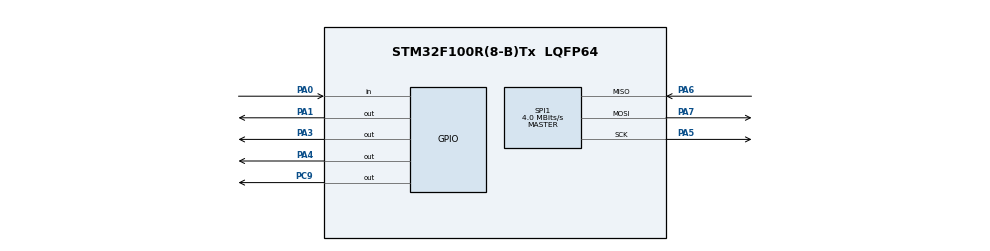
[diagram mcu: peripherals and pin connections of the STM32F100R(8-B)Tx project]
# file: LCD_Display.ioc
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Mcu.Family=STM32F1
Mcu.Name=STM32F100R(8-B)Tx
Mcu.Package=LQFP64
NVIC.PriorityGroup=NVIC_PRIORITYGROUP_4
PA0-WKUP.Signal=GPIO_Input
PA1.Signal=GPIO_Output
PA13.Mode=Serial_Wire
PA13.Signal=SYS_JTMS-SWDIO
PA14.Mode=Serial_Wire
PA14.Signal=SYS_JTCK-SWCLK
PA3.Signal=GPIO_Output
PA4.Signal=GPIO_Output
PA5.Mode=Full_Duplex_Master
PA5.Signal=SPI1_SCK
PA6.Mode=Full_Duplex_Master
PA6.Signal=SPI1_MISO
PA7.Mode=Full_Duplex_Master
PA7.Signal=SPI1_MOSI
PC9.Signal=GPIO_Output
ProjectManager.HeapSize=0x200
ProjectManager.StackSize=0x400
ProjectManager.TargetToolchain=Makefile
RCC.APB1Freq_Value=8000000
RCC.APB2Freq_Value=8000000
SPI1.CalculateBaudRate=4.0 MBits/s
SPI1.Direction=SPI_DIRECTION_2LINES
SPI1.Mode=SPI_MODE_MASTER
SPI1.VirtualType=VM_MASTER
board=custom

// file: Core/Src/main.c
/* USER CODE BEGIN Header */
/**
 ******************************************************************************
 * @file           : main.c
 * @brief          : Main program body
 ******************************************************************************
 * @attention
 *
 * Copyright (c) 2025 STMicroelectronics.
 * All rights reserved.
 *
 * This software is licensed under terms that can be found in the LICENSE file
 * in the root directory of this software component.
 * If no LICENSE file comes with this software, it is provided AS-IS.
 *
 ******************************************************************************
 */
/* USER CODE END Header */
#include "main.h"

/* USER CODE BEGIN PD */
#define DCX_low()                                                              \
  HAL_GPIO_WritePin(GPIOA, GPIO_PIN_1, GPIO_PIN_RESET) // command
#define DCX_high()                                                             \
  HAL_GPIO_WritePin(GPIOA, GPIO_PIN_1, GPIO_PIN_SET) // data/parameter

#define SLEEP_OUT 0x11
#define DISPLAY_ON 0x29

// select at low level
#define CSX_low() HAL_GPIO_WritePin(GPIOA, GPIO_PIN_4, GPIO_PIN_RESET)
#define CSX_high() HAL_GPIO_WritePin(GPIOA, GPIO_PIN_4, GPIO_PIN_SET)

// reset at low level
#define RESX_low() HAL_GPIO_WritePin(GPIOA, GPIO_PIN_3, GPIO_PIN_RESET)
#define RESX_high() HAL_GPIO_WritePin(GPIOA, GPIO_PIN_3, GPIO_PIN_SET)

// pixel RGB565
#define GREEN 0x07E0 // 0b0000011111100000
#define RED 0xF100   // 0b1111100000000000
#define BLUE 0x001F  // 0b0000000000011111

#define COLMOD_CMD 0x3A
#define COLMOD_16 0x55 // 16bits pro pixel

#define RAMWR_CMD 0x2C // instruction before pixel data is sent

#define MADCTL_CMD 0x36
#define MADCTL_PARAM 0x00

#define RASET_CMD 0x2B
#define CASET_CMD 0x2A
#define RASET_PARAM_START 0x0000 // Startzeile
#define RASET_PARAM_END 0x0083   // Endzeile = 131
#define CASET_PARAM_START 0x0000 // Startspalte
#define CASET_PARAM_END 0x00A1   // Endspalte = 161
/* USER CODE END PD */

SPI_HandleTypeDef hspi1;

void SystemClock_Config(void);
static void MX_GPIO_Init(void);
static void MX_SPI1_Init(void);

/* USER CODE BEGIN 0 */

void send_command(uint8_t command) {
  volatile HAL_StatusTypeDef status;
  DCX_low();
  status = HAL_SPI_Transmit(&hspi1, &command, 1, HAL_MAX_DELAY);
  DCX_high(); // im asnchluss kommen parmater
}

typedef union {
  uint16_t u16;
  uint8_t u8[2];
} RaCaParam;

void send_1byte_param(uint8_t param) {
  volatile HAL_StatusTypeDef status;
  status = HAL_SPI_Transmit(&hspi1, &param, 1, HAL_MAX_DELAY);
}
void send_RaCa_set_param(RaCaParam start, RaCaParam end) {
  // Achtung ST7735S arbeitet in big endian während mcu in little endian
  // arbeitet, deswegen der tusch mittels union!
  volatile HAL_StatusTypeDef status;
  uint8_t parameter[2];
  parameter[0] = start.u8[1];
  parameter[1] = start.u8[0];
  status = HAL_SPI_Transmit(&hspi1, parameter, 2, HAL_MAX_DELAY);
  parameter[0] = end.u8[1];
  parameter[1] = end.u8[0];
  status = HAL_SPI_Transmit(&hspi1, parameter, 2, HAL_MAX_DELAY);
}

uint32_t drawPixle(uint16_t color) {
  uint32_t i;
  uint32_t pixel = 132 * 162;
  // Pixeldata senden (2 Bytes, Big Endian!)
  uint8_t data[] = {color >> 8, color & 0xFF};
  for (i = 0; i < pixel; i++) {
    HAL_SPI_Transmit(&hspi1, data, 2, HAL_MAX_DELAY);
  }
  return i;
}
/* USER CODE END 0 */

int main(void) {

  /* MCU Configuration--------------------------------------------------------*/

  /* Reset of all peripherals, Initializes the Flash interface and the Systick.
   */
  HAL_Init();

  /* Configure the system clock */
  SystemClock_Config();

  /* Initialize all configured peripherals */
  MX_GPIO_Init();
  MX_SPI1_Init();

  /* Infinite loop */
  /* USER CODE BEGIN WHILE */
  CSX_low();
  send_command(SLEEP_OUT); // 0x11
  HAL_Delay(200);          // warten bis Controller aufwacht
  // HAL_GPIO_ReadPin(GPIOA, GPIO_PIN_4) == GPIO_PIN_RESET
  //     ? HAL_GPIO_WritePin(GPIOC, GPIO_PIN_9, GPIO_PIN_SET)
  //     : HAL_GPIO_WritePin(GPIOC, GPIO_PIN_9, GPIO_PIN_RESET);

  send_command(MADCTL_CMD);
  send_1byte_param(MADCTL_PARAM);

  send_command(RASET_CMD);
  volatile RaCaParam ra_start;
  ra_start.u16 = RASET_PARAM_START;
  volatile RaCaParam ra_end;
  ra_end.u16 = RASET_PARAM_END;
  send_RaCa_set_param(ra_start, ra_end);

  send_command(CASET_CMD);
  volatile RaCaParam ca_start;
  ca_start.u16 = CASET_PARAM_START;
  volatile RaCaParam ca_end;
  ca_end.u16 = CASET_PARAM_END;
  send_RaCa_set_param(ca_start, ca_end);

  send_command(COLMOD_CMD);
  send_1byte_param(COLMOD_16);

  send_command(DISPLAY_ON); // 0x29
  HAL_Delay(20);            // Warten bis display iengeschlatet ist
  CSX_high();
  // Hardware-Reset zu Beginn
  // HAL_GPIO_WritePin(GPIOA, GPIO_PIN_3, GPIO_PIN_RESET);
  // HAL_Delay(50);
  // HAL_GPIO_WritePin(GPIOA, GPIO_PIN_3, GPIO_PIN_SET);
  // HAL_Delay(1000);
  // uint16_t colors[3] = {GREEN, BLUE, RED};
  // uint8_t index = 0;
  // GPIO_PinState buttonstatus;
  while (1) {
    // buttonstatus = HAL_GPIO_ReadPin(GPIOA, GPIO_PIN_0);
    // HAL_Delay(50);
    // if (buttonstatus == GPIO_PIN_SET) {
    //   buttonstatus = HAL_GPIO_ReadPin(GPIOA, GPIO_PIN_0);
    //   if (buttonstatus == GPIO_PIN_SET) {

    // CSX_low();
    // send_command(SLEEP_OUT); // 0x11
    // HAL_Delay(120);          // warten bis Controller aufwacht
    // // HAL_GPIO_ReadPin(GPIOA, GPIO_PIN_4) == GPIO_PIN_RESET
    // //     ? HAL_GPIO_WritePin(GPIOC, GPIO_PIN_9, GPIO_PIN_SET)
    // //     : HAL_GPIO_WritePin(GPIOC, GPIO_PIN_9, GPIO_PIN_RESET);

    // send_command(MADCTL_CMD);
    // send_1byte_param(MADCTL_PARAM);

    // send_command(RASET_CMD);
    // volatile RaCaParam ra_start;
    // ra_start.u16 = RASET_PARAM_START;
    // volatile RaCaParam ra_end;
    // ra_end.u16 = RASET_PARAM_END;
    // send_RaCa_set_param(ra_start, ra_end);

    // send_command(CASET_CMD);
    // volatile RaCaParam ca_start;
    // ca_start.u16 = CASET_PARAM_START;
    // volatile RaCaParam ca_end;
    // ca_end.u16 = CASET_PARAM_END;
    // send_RaCa_set_param(ca_start, ca_end);

    // send_command(COLMOD_CMD);
    // send_1byte_param(COLMOD_16);

    // send_command(DISPLAY_ON); // 0x29
    // HAL_Delay(20);            // Warten bis display iengeschlatet ist
    CSX_low();
    send_command(RAMWR_CMD);
    // drawPixle(colors[index]);
    drawPixle(GREEN);
    CSX_high();
    HAL_Delay(5000);

    // while (HAL_GPIO_ReadPin(GPIOA, GPIO_PIN_0) == GPIO_PIN_RESET) {
    //   HAL_Delay(50);
    // }

    // index++;
    // if (index == 3) {
    //   index = 0;
    // }
  }

  /* USER CODE END WHILE */

}
// }
// }

void SystemClock_Config(void) {
  RCC_OscInitTypeDef RCC_OscInitStruct = {0};
  RCC_ClkInitTypeDef RCC_ClkInitStruct = {0};

  /** Initializes the RCC Oscillators according to the specified parameters
   * in the RCC_OscInitTypeDef structure.
   */
  RCC_OscInitStruct.OscillatorType = RCC_OSCILLATORTYPE_HSI;
  RCC_OscInitStruct.HSIState = RCC_HSI_ON;
  RCC_OscInitStruct.HSICalibrationValue = RCC_HSICALIBRATION_DEFAULT;
  RCC_OscInitStruct.PLL.PLLState = RCC_PLL_NONE;
  if (HAL_RCC_OscConfig(&RCC_OscInitStruct) != HAL_OK) {
    Error_Handler();
  }

  /** Initializes the CPU, AHB and APB buses clocks
   */
  RCC_ClkInitStruct.ClockType = RCC_CLOCKTYPE_HCLK | RCC_CLOCKTYPE_SYSCLK |
                                RCC_CLOCKTYPE_PCLK1 | RCC_CLOCKTYPE_PCLK2;
  RCC_ClkInitStruct.SYSCLKSource = RCC_SYSCLKSOURCE_HSI;
  RCC_ClkInitStruct.AHBCLKDivider = RCC_SYSCLK_DIV1;
  RCC_ClkInitStruct.APB1CLKDivider = RCC_HCLK_DIV1;
  RCC_ClkInitStruct.APB2CLKDivider = RCC_HCLK_DIV1;

  if (HAL_RCC_ClockConfig(&RCC_ClkInitStruct, FLASH_LATENCY_0) != HAL_OK) {
    Error_Handler();
  }
}

static void MX_SPI1_Init(void) {

  /* SPI1 parameter configuration*/
  hspi1.Instance = SPI1;
  hspi1.Init.Mode = SPI_MODE_MASTER;
  hspi1.Init.Direction = SPI_DIRECTION_2LINES;
  hspi1.Init.DataSize = SPI_DATASIZE_8BIT;
  hspi1.Init.CLKPolarity = SPI_POLARITY_LOW;
  hspi1.Init.CLKPhase = SPI_PHASE_1EDGE;
  hspi1.Init.NSS = SPI_NSS_SOFT;
  hspi1.Init.BaudRatePrescaler = SPI_BAUDRATEPRESCALER_2;
  hspi1.Init.FirstBit = SPI_FIRSTBIT_MSB;
  hspi1.Init.TIMode = SPI_TIMODE_DISABLE;
  hspi1.Init.CRCCalculation = SPI_CRCCALCULATION_DISABLE;
  hspi1.Init.CRCPolynomial = 10;
  if (HAL_SPI_Init(&hspi1) != HAL_OK) {
    Error_Handler();
  }
}

static void MX_GPIO_Init(void) {
  GPIO_InitTypeDef GPIO_InitStruct = {0};

  /* GPIO Ports Clock Enable */
  __HAL_RCC_GPIOA_CLK_ENABLE();
  __HAL_RCC_GPIOC_CLK_ENABLE();

  /*Configure GPIO pin Output Level */
  HAL_GPIO_WritePin(GPIOA, GPIO_PIN_1 | GPIO_PIN_3 | GPIO_PIN_4,
                    GPIO_PIN_RESET);

  /*Configure GPIO pin Output Level */
  HAL_GPIO_WritePin(GPIOC, GPIO_PIN_9, GPIO_PIN_RESET);

  /*Configure GPIO pin : PA0 */
  GPIO_InitStruct.Pin = GPIO_PIN_0;
  GPIO_InitStruct.Mode = GPIO_MODE_INPUT;
  GPIO_InitStruct.Pull = GPIO_NOPULL;
  HAL_GPIO_Init(GPIOA, &GPIO_InitStruct);

  /*Configure GPIO pins : PA1 PA3 PA4 */
  GPIO_InitStruct.Pin = GPIO_PIN_1 | GPIO_PIN_3 | GPIO_PIN_4;
  GPIO_InitStruct.Mode = GPIO_MODE_OUTPUT_PP;
  GPIO_InitStruct.Pull = GPIO_NOPULL;
  GPIO_InitStruct.Speed = GPIO_SPEED_FREQ_LOW;
  HAL_GPIO_Init(GPIOA, &GPIO_InitStruct);

  /*Configure GPIO pin : PC9 */
  GPIO_InitStruct.Pin = GPIO_PIN_9;
  GPIO_InitStruct.Mode = GPIO_MODE_OUTPUT_PP;
  GPIO_InitStruct.Pull = GPIO_NOPULL;
  GPIO_InitStruct.Speed = GPIO_SPEED_FREQ_LOW;
  HAL_GPIO_Init(GPIOC, &GPIO_InitStruct);

}

void Error_Handler(void) {
  /* USER CODE BEGIN Error_Handler_Debug */
  /* User can add his own implementation to report the HAL error return state
   */
  __disable_irq();
  while (1) {
  }
  /* USER CODE END Error_Handler_Debug */
}

#ifdef USE_FULL_ASSERT
/**
 * @brief  Reports the name of the source file and the source line number
 *         where the assert_param error has occurred.
 * @param  file: pointer to the source file name
 * @param  line: assert_param error line source number
 * @retval None
 */
void assert_failed(uint8_t *file, uint32_t line) {
  /* USER CODE BEGIN 6 */
  /* User can add his own implementation to report the file name and line
     number, ex: printf("Wrong parameters value: file %s on line %d\r\n",
     file, line) */
  /* USER CODE END 6 */
}
#endif /* USE_FULL_ASSERT */
